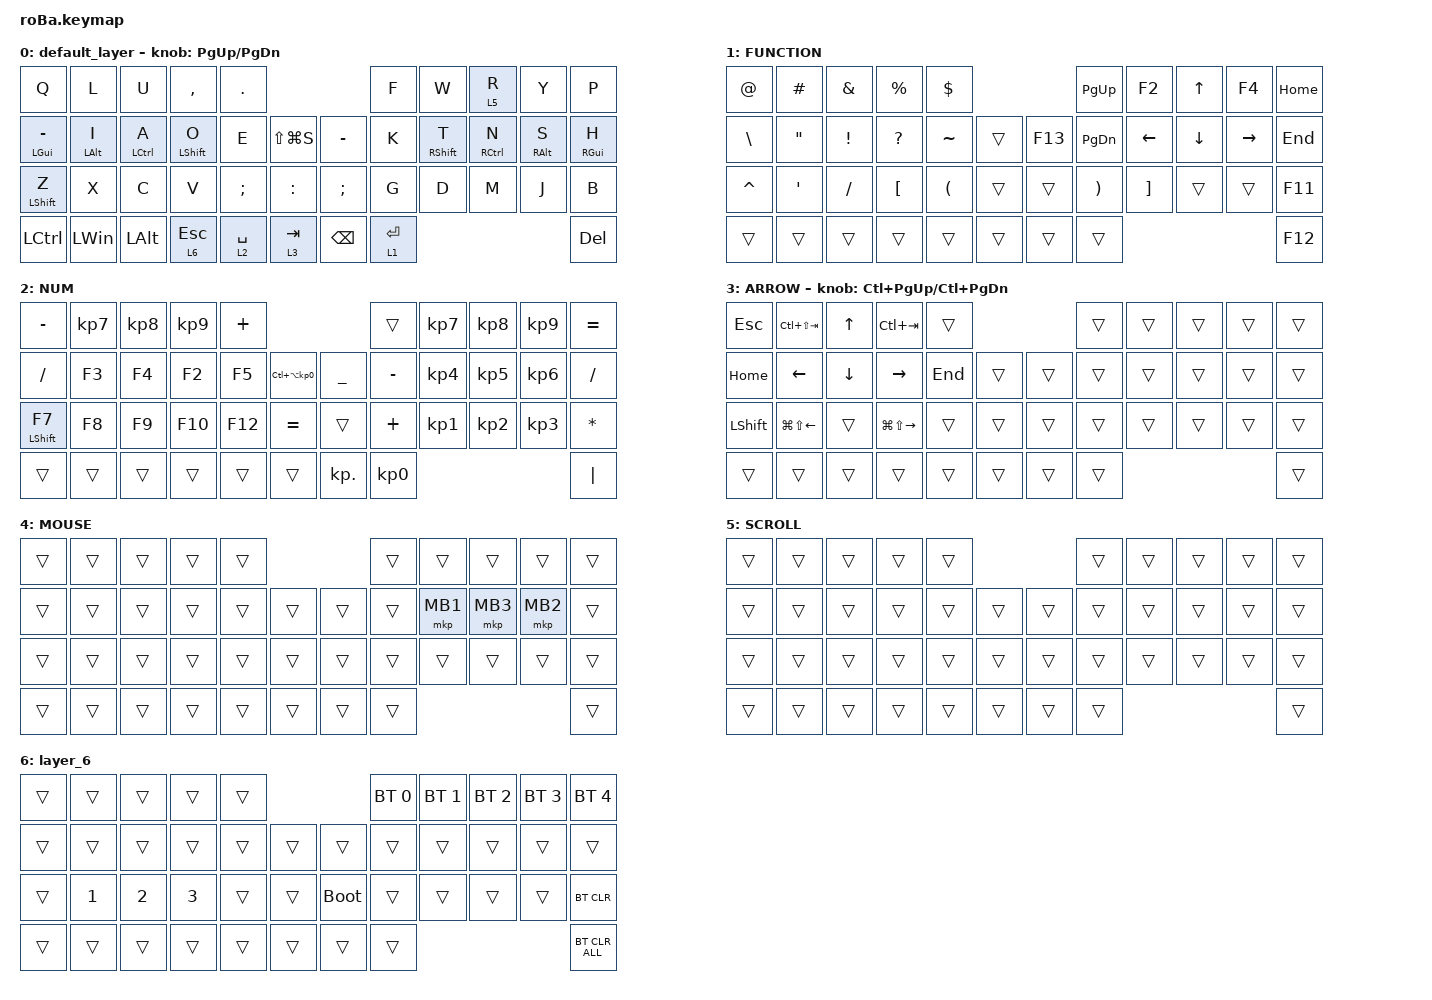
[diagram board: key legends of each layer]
#include <behaviors.dtsi>
#include <dt-bindings/zmk/bt.h>
#include <dt-bindings/zmk/keys.h>
#include <dt-bindings/zmk/pointing.h>

&mt {
    flavor = "balanced";
    quick-tap-ms = <0>;
};

&trackball {
    automouse-layer = <4>;
    scroll-layers = <5>;

    // arrows {
    //     layers = <3>;
    //     bindings =
    //         <&kp RIGHT_ARROW>,
    //         <&kp LEFT_ARROW>,
    //         <&kp UP_ARROW>,
    //         <&kp DOWN_ARROW>;
    //     tick = <10>;
    //     wait-ms = <5>;
    //     tap-ms = <5>;
    // };
};

/ {
    combos {
        compatible = "zmk,combos";

        tab {
            bindings = <&kp TAB>;
            key-positions = <11 12>;
        };

        shift_tab {
            bindings = <&kp LS(TAB)>;
            key-positions = <12 13>;
        };

        muhennkann {
            bindings = <&to_layer_0 INT_MUHENKAN>;
            key-positions = <11 10>;
        };

        double_quotation {
            bindings = <&kp DOUBLE_QUOTES>;
            key-positions = <20 21>;
        };

        eq {
            bindings = <&kp EQUAL>;
            key-positions = <24 25>;
        };
    };

    macros {
        to_layer_0: to_layer_0 {
            compatible = "zmk,behavior-macro-one-param";
            #binding-cells = <1>;
            bindings = <&to 0 &macro_param_1to1 &kp MACRO_PLACEHOLDER>;
            label = "TO_LAYER_0";
        };
    };

    behaviors {
        lt_to_layer_0: lt_to_layer_0 {
            compatible = "zmk,behavior-hold-tap";
            label = "LAYER_TAP_TO_0";
            bindings = <&mo>, <&to_layer_0>;

            #binding-cells = <2>;
            tapping-term-ms = <200>;
        };
    };

    keymap {
        compatible = "zmk,keymap";

        default_layer {
            bindings = <
&kp Q               &kp L           &kp U               &kp COMMA                &kp PERIOD                                              &kp F        &kp W              &lt 5 R      &kp Y            &kp P
&mt LEFT_GUI MINUS  &mt LEFT_ALT I  &mt LEFT_CONTROL A  &mt LEFT_SHIFT O         &kp E          &kp LS(LG(S))             &kp MINUS      &kp K        &mt RIGHT_SHIFT T  &mt RCTRL N  &mt RIGHT_ALT S  &mt RIGHT_GUI H
&mt LEFT_SHIFT Z    &kp X           &kp C               &kp V                    &kp SEMICOLON  &kp COLON                 &kp SEMICOLON  &kp G        &kp D              &kp M        &kp J            &kp B
&kp LCTRL           &kp LEFT_WIN    &kp LEFT_ALT        &lt_to_layer_0 6 ESCAPE  &lt 2 SPACE    &lt_to_layer_0 3 TAB      &kp BACKSPACE  &lt 1 ENTER                                                   &kp DEL
            >;

            sensor-bindings = <&inc_dec_kp PG_UP PAGE_DOWN>;
        };

        FUNCTION {
            bindings = <
&kp AT_SIGN    &kp HASH           &kp AMPERSAND    &kp PERCENT   &kp DOLLAR                                 &kp PAGE_UP            &kp F2             &kp UP_ARROW  &kp F4     &kp HOME
&kp BACKSLASH  &kp DOUBLE_QUOTES  &kp EXCLAMATION  &kp QUESTION  &kp TILDE             &trans      &kp F13  &kp PAGE_DOWN          &kp LEFT           &kp DOWN      &kp RIGHT  &kp END
&kp CARET      &kp SQT            &kp SLASH        &kp LBKT      &kp LEFT_PARENTHESIS  &trans      &trans   &kp RIGHT_PARENTHESIS  &kp RIGHT_BRACKET  &trans        &trans     &kp F11
&trans         &trans             &trans           &trans        &trans                &trans      &trans   &trans                                                             &kp F12
            >;
        };

        NUM {
            bindings = <
&kp MINUS          &kp KP_NUMBER_7  &kp KP_NUMBER_8  &kp KP_NUMBER_9  &kp PLUS                                               &trans           &kp KP_NUMBER_7  &kp KP_NUMBER_8  &kp KP_NUMBER_9  &kp EQUAL
&kp SLASH          &kp F3           &kp F4           &kp F2           &kp F5    &kp LC(LA(KP_NUMBER_0))      &kp UNDERSCORE  &kp MINUS        &kp KP_NUMBER_4  &kp KP_NUMBER_5  &kp KP_NUMBER_6  &kp SLASH
&mt LEFT_SHIFT F7  &kp F8           &kp F9           &kp F10          &kp F12   &kp EQUAL                    &trans          &kp PLUS         &kp KP_NUMBER_1  &kp KP_NUMBER_2  &kp KP_NUMBER_3  &kp ASTRK
&trans             &trans           &trans           &trans           &trans    &trans                       &kp KP_DOT      &kp KP_NUMBER_0                                                     &kp PIPE
            >;
        };

        ARROW {
            bindings = <
&kp ESCAPE      &kp LC(LS(TAB))         &kp UP_ARROW    &kp LC(TAB)              &trans                       &trans  &trans  &trans  &trans  &trans
&kp HOME        &kp LEFT_ARROW          &kp DOWN_ARROW  &kp RIGHT_ARROW          &kp END  &trans      &trans  &trans  &trans  &trans  &trans  &trans
&kp LEFT_SHIFT  &kp LG(LS(LEFT_ARROW))  &trans          &kp LG(LS(RIGHT_ARROW))  &trans   &trans      &trans  &trans  &trans  &trans  &trans  &trans
&trans          &trans                  &trans          &trans                   &trans   &trans      &trans  &trans                          &trans
            >;

            sensor-bindings = <&inc_dec_kp LC(PAGE_UP) LC(PAGE_DOWN)>;
        };

        MOUSE {
            bindings = <
&trans  &trans  &trans  &trans  &trans                      &trans  &trans    &trans    &trans    &trans
&trans  &trans  &trans  &trans  &trans  &trans      &trans  &trans  &mkp MB1  &mkp MB3  &mkp MB2  &trans
&trans  &trans  &trans  &trans  &trans  &trans      &trans  &trans  &trans    &trans    &trans    &trans
&trans  &trans  &trans  &trans  &trans  &trans      &trans  &trans                                &trans
            >;
        };

        SCROLL {
            bindings = <
&trans  &trans  &trans  &trans  &trans                      &trans  &trans  &trans  &trans  &trans
&trans  &trans  &trans  &trans  &trans  &trans      &trans  &trans  &trans  &trans  &trans  &trans
&trans  &trans  &trans  &trans  &trans  &trans      &trans  &trans  &trans  &trans  &trans  &trans
&trans  &trans  &trans  &trans  &trans  &trans      &trans  &trans                          &trans
            >;
        };

        layer_6 {
            bindings = <
&trans  &trans        &trans        &trans        &trans                           &bt BT_SEL 0  &bt BT_SEL 1  &bt BT_SEL 2  &bt BT_SEL 3  &bt BT_SEL 4
&trans  &trans        &trans        &trans        &trans  &trans      &trans       &trans        &trans        &trans        &trans        &trans
&trans  &kp NUMBER_1  &kp NUMBER_2  &kp NUMBER_3  &trans  &trans      &bootloader  &trans        &trans        &trans        &trans        &bt BT_CLR
&trans  &trans        &trans        &trans        &trans  &trans      &trans       &trans                                                  &bt BT_CLR_ALL
            >;
        };
    };
};
